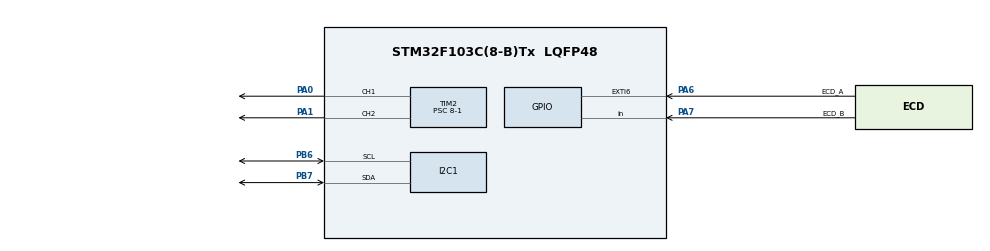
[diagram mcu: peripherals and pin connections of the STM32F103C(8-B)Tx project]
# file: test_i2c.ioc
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I2C1.I2C_Mode=I2C_Fast
I2C1.OwnAddress=0x17
Mcu.Family=STM32F1
Mcu.Name=STM32F103C(8-B)Tx
Mcu.Package=LQFP48
NVIC.EXTI9_5_IRQn=true\:0\:0\:false\:false\:true\:true\:true\:true
NVIC.I2C1_ER_IRQn=true\:0\:0\:false\:false\:true\:true\:true\:true
NVIC.I2C1_EV_IRQn=true\:0\:0\:false\:false\:true\:true\:true\:true
NVIC.PriorityGroup=NVIC_PRIORITYGROUP_4
PA0-WKUP.Signal=S_TIM2_CH1_ETR
PA1.Signal=S_TIM2_CH2
PA13.Mode=Serial_Wire
PA13.Signal=SYS_JTMS-SWDIO
PA14.Mode=Serial_Wire
PA14.Signal=SYS_JTCK-SWCLK
PA6.GPIO_Label=ECD_A
PA6.Signal=GPXTI6
PA7.GPIO_Label=ECD_B
PA7.Signal=GPIO_Input
PB6.Mode=I2C
PB6.Signal=I2C1_SCL
PB7.Mode=I2C
PB7.Signal=I2C1_SDA
ProjectManager.HeapSize=0x200
ProjectManager.StackSize=0x400
ProjectManager.TargetToolchain=STM32CubeIDE
RCC.APB1Freq_Value=8000000
RCC.APB2Freq_Value=8000000
SH.S_TIM2_CH1_ETR.0=TIM2_CH1,PWM Generation1 CH1
SH.S_TIM2_CH2.0=TIM2_CH2,PWM Generation2 CH2
TIM2.Channel-PWM\ Generation1\ CH1=TIM_CHANNEL_1
TIM2.Channel-PWM\ Generation2\ CH2=TIM_CHANNEL_2
TIM2.Period=1000-1
TIM2.Prescaler=8-1
VP_TIM2_VS_ClockSourceINT.Mode=Internal
VP_TIM4_VS_ClockSourceINT.Mode=Internal
board=custom

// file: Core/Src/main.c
/* USER CODE BEGIN Header */
/**
  ******************************************************************************
  * @file           : main.c
  * @brief          : Main program body
  ******************************************************************************
  * @attention
  *
  * Copyright (c) 2024 STMicroelectronics.
  * All rights reserved.
  *
  * This software is licensed under terms that can be found in the LICENSE file
  * in the root directory of this software component.
  * If no LICENSE file comes with this software, it is provided AS-IS.
  *
  ******************************************************************************
  */
/* USER CODE END Header */
#include "main.h"

/* USER CODE BEGIN Includes */
#include "string.h"
#include "stdlib.h"
#include "stdbool.h"
/* USER CODE END Includes */

/* USER CODE BEGIN PTD */
typedef enum SwerveParamRegister {
	DEV_REG_SPEED_KP = 1,
	DEV_REG_SPEED_KI,
	DEV_REG_SPEED_KD,

	DEV_REG_ANGLE_KP,
	DEV_REG_ANGLE_KI,
	DEV_REG_ANGLE_KD,

	DEV_REG_TARGET_SPEED,
	DEV_REG_TARGET_ANGLE,
	DEV_REG_MODE,
} SwerveParamRegister;
/* USER CODE END PTD */

/* USER CODE BEGIN PD */
#define ToRad 	M_PI/180
#define ToDeg 	180/M_PI
#define PIDdeltaT  0.01
#define count_PerRevol 495
/* USER CODE END PD */

I2C_HandleTypeDef hi2c1;

TIM_HandleTypeDef htim2;
TIM_HandleTypeDef htim4;

/* USER CODE BEGIN PV */
float ecd = 0;
float target_speed = 0;
float target_angle = 0;
uint8_t rxBuffer[5] = {0};
uint8_t txBuffer[5] = {0};
uint8_t _TransferDirection;
bool IsAngle = false;
/* USER CODE END PV */

void SystemClock_Config(void);
static void MX_GPIO_Init(void);
static void MX_I2C1_Init(void);
static void MX_TIM2_Init(void);
static void MX_TIM4_Init(void);

/* USER CODE BEGIN 0 */
void Motor_Drive(int16_t speedMotor){
	int pwm = abs(speedMotor);

	__HAL_TIM_SET_COMPARE(&htim2, TIM_CHANNEL_1, 0);
	__HAL_TIM_SET_COMPARE(&htim2, TIM_CHANNEL_2, 0);

	if(speedMotor < 0)			__HAL_TIM_SET_COMPARE(&htim2, TIM_CHANNEL_2, pwm);
	else if(speedMotor > 0)		__HAL_TIM_SET_COMPARE(&htim2, TIM_CHANNEL_1, pwm);
}

void SetValueParam(uint8_t value, uint8_t reg) {
	switch (reg) {
	case DEV_REG_TARGET_SPEED:
		target_speed = value;
		break;
	case DEV_REG_TARGET_ANGLE:
		ecd = 0;
		target_angle = value;
		break;
	}
}

uint8_t GetValueParam(uint8_t reg) {
	switch (reg) {
	case DEV_REG_TARGET_SPEED:
		return target_speed;
		break;
	case DEV_REG_TARGET_ANGLE:
		return target_angle;
		break;
	}
	return 0;
}

void HAL_I2C_ListenCpltCallback(I2C_HandleTypeDef *hi2c) {
	HAL_I2C_EnableListen_IT(hi2c);
}

void HAL_I2C_AddrCallback(I2C_HandleTypeDef *hi2c, uint8_t TransferDirection, uint16_t AddrMatchCode) {
	if (TransferDirection == I2C_DIRECTION_TRANSMIT)  // if the master wants to transmit the data
		HAL_I2C_Slave_Seq_Receive_IT(hi2c, rxBuffer, 2, I2C_FIRST_AND_LAST_FRAME);
	else if (TransferDirection == I2C_DIRECTION_RECEIVE)
		HAL_I2C_Slave_Seq_Receive_IT(hi2c, rxBuffer, 1, I2C_FIRST_AND_LAST_FRAME);
	_TransferDirection = TransferDirection;
}

void HAL_I2C_SlaveRxCpltCallback(I2C_HandleTypeDef *hi2c) {
	if (_TransferDirection == I2C_DIRECTION_TRANSMIT) {
		uint8_t reg = rxBuffer[0];
		uint8_t value = rxBuffer[1];
		SetValueParam(value, reg);
		memset(rxBuffer, 0, sizeof(rxBuffer));
	}
}

void HAL_I2C_ErrorCallback(I2C_HandleTypeDef *hi2c) {
	HAL_I2C_EnableListen_IT(hi2c);
}

void HAL_GPIO_EXTI_Callback(uint16_t GPIO_Pin) {
	if(GPIO_Pin == ECD_A_Pin){
		if(HAL_GPIO_ReadPin(ECD_B_GPIO_Port, ECD_B_Pin))	ecd++;
		else												ecd--;
	}
}
/* USER CODE END 0 */

int main(void)
{

  /* MCU Configuration--------------------------------------------------------*/

  /* Reset of all peripherals, Initializes the Flash interface and the Systick. */
  HAL_Init();

  /* Configure the system clock */
  SystemClock_Config();

  /* Initialize all configured peripherals */
  MX_GPIO_Init();
  MX_I2C1_Init();
  MX_TIM2_Init();
  MX_TIM4_Init();
  /* USER CODE BEGIN 2 */
  HAL_TIM_PWM_Start(&htim2,TIM_CHANNEL_1);
  HAL_TIM_PWM_Start(&htim2,TIM_CHANNEL_2);
  while (HAL_I2C_EnableListen_IT(&hi2c1) != HAL_OK);
  /* USER CODE END 2 */

  /* Infinite loop */
  /* USER CODE BEGIN WHILE */
  while (1)
  {
	  target_speed = GetValueParam(DEV_REG_TARGET_SPEED);
	  target_angle = GetValueParam(DEV_REG_TARGET_ANGLE);
//	  if(target_angle != 0) {
//		target_speed = (target_angle - ecd*360/count_PerRevol) * 10;
//		if (target_speed < 0) {
//			target_speed = 0;
//		}
//	  }
	  Motor_Drive(target_speed);
    /* USER CODE END WHILE */

  }
}

void SystemClock_Config(void)
{
  RCC_OscInitTypeDef RCC_OscInitStruct = {0};
  RCC_ClkInitTypeDef RCC_ClkInitStruct = {0};

  /** Initializes the RCC Oscillators according to the specified parameters
  * in the RCC_OscInitTypeDef structure.
  */
  RCC_OscInitStruct.OscillatorType = RCC_OSCILLATORTYPE_HSI;
  RCC_OscInitStruct.HSIState = RCC_HSI_ON;
  RCC_OscInitStruct.HSICalibrationValue = RCC_HSICALIBRATION_DEFAULT;
  RCC_OscInitStruct.PLL.PLLState = RCC_PLL_NONE;
  if (HAL_RCC_OscConfig(&RCC_OscInitStruct) != HAL_OK)
  {
    Error_Handler();
  }

  /** Initializes the CPU, AHB and APB buses clocks
  */
  RCC_ClkInitStruct.ClockType = RCC_CLOCKTYPE_HCLK|RCC_CLOCKTYPE_SYSCLK
                              |RCC_CLOCKTYPE_PCLK1|RCC_CLOCKTYPE_PCLK2;
  RCC_ClkInitStruct.SYSCLKSource = RCC_SYSCLKSOURCE_HSI;
  RCC_ClkInitStruct.AHBCLKDivider = RCC_SYSCLK_DIV1;
  RCC_ClkInitStruct.APB1CLKDivider = RCC_HCLK_DIV1;
  RCC_ClkInitStruct.APB2CLKDivider = RCC_HCLK_DIV1;

  if (HAL_RCC_ClockConfig(&RCC_ClkInitStruct, FLASH_LATENCY_0) != HAL_OK)
  {
    Error_Handler();
  }
}

static void MX_I2C1_Init(void)
{

  hi2c1.Instance = I2C1;
  hi2c1.Init.ClockSpeed = 400000;
  hi2c1.Init.DutyCycle = I2C_DUTYCYCLE_2;
  hi2c1.Init.OwnAddress1 = 46;
  hi2c1.Init.AddressingMode = I2C_ADDRESSINGMODE_7BIT;
  hi2c1.Init.DualAddressMode = I2C_DUALADDRESS_DISABLE;
  hi2c1.Init.OwnAddress2 = 0;
  hi2c1.Init.GeneralCallMode = I2C_GENERALCALL_DISABLE;
  hi2c1.Init.NoStretchMode = I2C_NOSTRETCH_DISABLE;
  if (HAL_I2C_Init(&hi2c1) != HAL_OK)
  {
    Error_Handler();
  }

}

static void MX_TIM2_Init(void)
{

  TIM_ClockConfigTypeDef sClockSourceConfig = {0};
  TIM_MasterConfigTypeDef sMasterConfig = {0};
  TIM_OC_InitTypeDef sConfigOC = {0};

  htim2.Instance = TIM2;
  htim2.Init.Prescaler = 8-1;
  htim2.Init.CounterMode = TIM_COUNTERMODE_UP;
  htim2.Init.Period = 1000-1;
  htim2.Init.ClockDivision = TIM_CLOCKDIVISION_DIV1;
  htim2.Init.AutoReloadPreload = TIM_AUTORELOAD_PRELOAD_DISABLE;
  if (HAL_TIM_Base_Init(&htim2) != HAL_OK)
  {
    Error_Handler();
  }
  sClockSourceConfig.ClockSource = TIM_CLOCKSOURCE_INTERNAL;
  if (HAL_TIM_ConfigClockSource(&htim2, &sClockSourceConfig) != HAL_OK)
  {
    Error_Handler();
  }
  if (HAL_TIM_PWM_Init(&htim2) != HAL_OK)
  {
    Error_Handler();
  }
  sMasterConfig.MasterOutputTrigger = TIM_TRGO_RESET;
  sMasterConfig.MasterSlaveMode = TIM_MASTERSLAVEMODE_DISABLE;
  if (HAL_TIMEx_MasterConfigSynchronization(&htim2, &sMasterConfig) != HAL_OK)
  {
    Error_Handler();
  }
  sConfigOC.OCMode = TIM_OCMODE_PWM1;
  sConfigOC.Pulse = 0;
  sConfigOC.OCPolarity = TIM_OCPOLARITY_HIGH;
  sConfigOC.OCFastMode = TIM_OCFAST_DISABLE;
  if (HAL_TIM_PWM_ConfigChannel(&htim2, &sConfigOC, TIM_CHANNEL_1) != HAL_OK)
  {
    Error_Handler();
  }
  if (HAL_TIM_PWM_ConfigChannel(&htim2, &sConfigOC, TIM_CHANNEL_2) != HAL_OK)
  {
    Error_Handler();
  }
  HAL_TIM_MspPostInit(&htim2);

}

static void MX_TIM4_Init(void)
{

  TIM_ClockConfigTypeDef sClockSourceConfig = {0};
  TIM_MasterConfigTypeDef sMasterConfig = {0};

  htim4.Instance = TIM4;
  htim4.Init.Prescaler = 0;
  htim4.Init.CounterMode = TIM_COUNTERMODE_UP;
  htim4.Init.Period = 65535;
  htim4.Init.ClockDivision = TIM_CLOCKDIVISION_DIV1;
  htim4.Init.AutoReloadPreload = TIM_AUTORELOAD_PRELOAD_DISABLE;
  if (HAL_TIM_Base_Init(&htim4) != HAL_OK)
  {
    Error_Handler();
  }
  sClockSourceConfig.ClockSource = TIM_CLOCKSOURCE_INTERNAL;
  if (HAL_TIM_ConfigClockSource(&htim4, &sClockSourceConfig) != HAL_OK)
  {
    Error_Handler();
  }
  sMasterConfig.MasterOutputTrigger = TIM_TRGO_RESET;
  sMasterConfig.MasterSlaveMode = TIM_MASTERSLAVEMODE_DISABLE;
  if (HAL_TIMEx_MasterConfigSynchronization(&htim4, &sMasterConfig) != HAL_OK)
  {
    Error_Handler();
  }

}

static void MX_GPIO_Init(void)
{
  GPIO_InitTypeDef GPIO_InitStruct = {0};

  /* GPIO Ports Clock Enable */
  __HAL_RCC_GPIOA_CLK_ENABLE();
  __HAL_RCC_GPIOB_CLK_ENABLE();

  /*Configure GPIO pin : ECD_A_Pin */
  GPIO_InitStruct.Pin = ECD_A_Pin;
  GPIO_InitStruct.Mode = GPIO_MODE_IT_RISING;
  GPIO_InitStruct.Pull = GPIO_NOPULL;
  HAL_GPIO_Init(ECD_A_GPIO_Port, &GPIO_InitStruct);

  /*Configure GPIO pin : ECD_B_Pin */
  GPIO_InitStruct.Pin = ECD_B_Pin;
  GPIO_InitStruct.Mode = GPIO_MODE_INPUT;
  GPIO_InitStruct.Pull = GPIO_NOPULL;
  HAL_GPIO_Init(ECD_B_GPIO_Port, &GPIO_InitStruct);

  /* EXTI interrupt init*/
  HAL_NVIC_SetPriority(EXTI9_5_IRQn, 0, 0);
  HAL_NVIC_EnableIRQ(EXTI9_5_IRQn);

}

void Error_Handler(void)
{
  __disable_irq();
  while (1)
  {
  }
}
